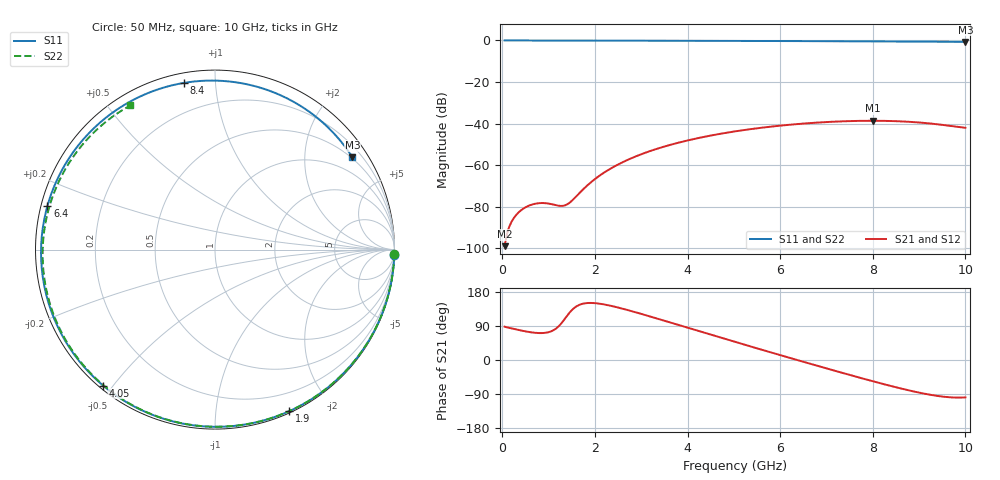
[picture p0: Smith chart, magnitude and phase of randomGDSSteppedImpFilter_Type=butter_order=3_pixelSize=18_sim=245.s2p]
! freq	dB(S11)	phase(S11)	dB(S12)	phase(S12)
!  dB(S21)	phase(S21)	dB(S22)	phase(S22)
!S-par simulation data
#  GHz  S  DB  R 50
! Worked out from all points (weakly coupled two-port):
!   200 points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, 50 MHz to 10 GHz, reference 50 ohm
!   highest |S21| = -38.66 dB at 8 GHz (marker M1); lowest = -99.0 dB at 50 MHz (marker M2)
!   lowest |S11| = -0.7 dB at 10 GHz (marker M3), VSWR 24.67, Z = 23.4 + j161 ohm
!   |S11| at or under -10 dB: nowhere
!   |S22| runs from -0.6 to 0.0 dB; largest |S21 - S12| = 0
!   S11 on the Smith chart (normalised r, x): 50 MHz: 1, -63; 1.9 GHz: 0.02, -1.56; 4.05 GHz: 0.01, -0.47; 6.4 GHz: 0.02, +0.13; 8.4 GHz: 0.05, +0.83; 10 GHz: 0.47, +3.22
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0.05  -0.01 -1.8  -99.03 87.8  -99.03 87.8  -0.00 -1.5
0.5  -0.02 -17.8  -80.34 75.5  -80.34 75.5  -0.02 -14.5
0.85  -0.04 -30.1  -78.27 71.0  -78.27 71.0  -0.03 -24.6
1.35  -0.06 -47.2  -79.42 108.5  -79.42 108.5  -0.05 -38.7
1.5  -0.07 -52.2  -77.22 131.4  -77.22 131.4  -0.05 -42.8
1.75  -0.08 -60.5  -71.59 148.8  -71.59 148.8  -0.06 -49.7
1.9  -0.08 -65.3  -68.54 150.6  -68.54 150.6  -0.07 -53.7
2.55  -0.11 -85.8  -59.15 136.9  -59.15 136.9  -0.09 -70.8
3.4  -0.14 -111.1  -51.74 107.3  -51.74 107.3  -0.12 -92.0
4.05  -0.16 -129.4  -47.89 83.4  -47.89 83.4  -0.14 -107.2
5.05  -0.22 -156.9  -43.69 46.9  -43.69 46.9  -0.19 -129.6
5.75  -0.26 -176.1  -41.62 21.8  -41.62 21.8  -0.23 -144.6
6.4  -0.31 165.5  -40.20 -1.2  -40.20 -1.2  -0.27 -158.4
6.7  -0.34 156.7  -39.69 -11.7  -39.69 -11.7  -0.29 -164.7
7.35  -0.39 136.6  -38.93 -34.2  -38.93 -34.2  -0.35 -178.5
8  -0.45 114.9  -38.66 -56.0  -38.66 -56.0  -0.41 167.5
8.35  -0.49 102.3  -38.76 -67.3  -38.76 -67.3  -0.44 159.7
8.4  -0.49 100.4  -38.79 -68.9  -38.79 -68.9  -0.44 158.6
8.8  -0.54 85.1  -39.18 -80.7  -39.18 -80.7  -0.49 149.5
9.2  -0.58 68.9  -39.89 -90.9  -39.89 -90.9  -0.53 140.1
9.6  -0.64 51.8  -40.92 -97.8  -40.92 -97.8  -0.57 130.5
10  -0.70 33.9  -42.06 -98.7  -42.06 -98.7  -0.62 120.5
